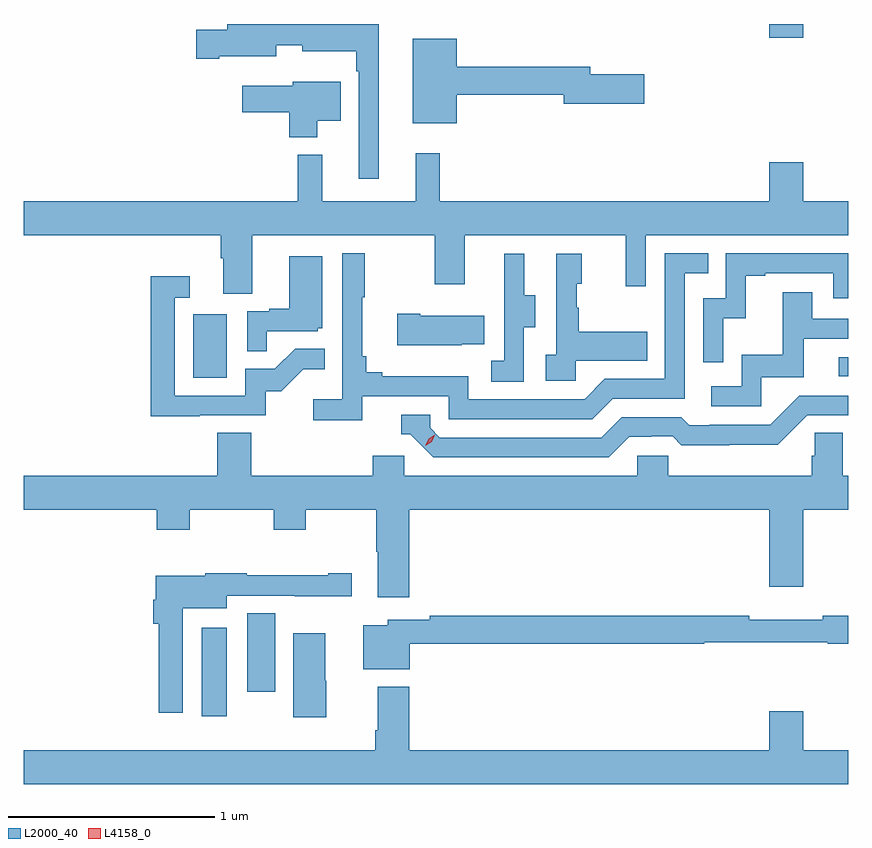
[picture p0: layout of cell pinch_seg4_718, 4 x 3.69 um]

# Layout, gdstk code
import gdstk
lib = gdstk.Library(unit=1e-6, precision=1e-09)
def R(c, l, rs):  # rectangles x0, y0, x1, y1
    for r in rs: c.add(gdstk.rectangle(r[:2], r[2:], *l))
def P(c, l, *ps):  # polygons
    for p in ps: c.add(gdstk.Polygon(p, *l))
L2000_40 = (2000, 40)
L4158_0 = (4158, 0)

pinch_seg4_718 = lib.new_cell('pinch_seg4_718')
R(pinch_seg4_718, L2000_40, [(845.57,811.8,845.692,812.23), (845.792,811.92,845.926,812.3), (845.528,813.444,845.692,813.751), (848.661,813.45,848.707,813.543), (848.324,815.094,848.488,815.16)])
P(pinch_seg4_718, L2000_40, [(846.43,815.16),(845.693,815.16),(845.693,815.133),(845.544,815.133),(845.544,814.991),(845.656,814.991),(845.656,815.003),(845.932,815.003),(845.932,815.057),(846.059,815.057),(846.059,815.027),(846.321,815.027),(846.321,814.931),(846.333,814.931),(846.333,814.41),(846.43,814.41)],
  [(846.808,814.816),(847.328,814.816),(847.328,814.774),(847.717,814.774),(847.717,814.916),(847.456,814.916),(847.456,814.952),(846.808,814.952),(846.808,815.089),(846.593,815.089),(846.593,814.679),(846.808,814.679)],
  [(846.13,814.691),(846.244,814.691),(846.244,814.879),(846.012,814.879),(846.012,814.861),(845.766,814.861),(845.766,814.732),(845.996,814.732),(845.996,814.61),(846.13,814.61)],
  [(845.815,814.136),(846.7,814.136),(846.7,813.897),(846.847,813.897),(846.847,814.136),(847.628,814.136),(847.628,813.888),(847.725,813.888),(847.725,814.136),(848.707,814.136),(848.707,814.3),(848.488,814.3),(848.488,814.489),(848.324,814.489),(848.324,814.3),(846.725,814.3),(846.725,814.534),(846.608,814.534),(846.608,814.3),(846.155,814.3),(846.155,814.525),(846.037,814.525),(846.037,814.3),(844.707,814.3),(844.707,814.136),(845.663,814.136),(845.663,814.024),(845.675,814.024),(845.675,813.85),(845.815,813.85)],
  [(846.35,813.354),(846.768,813.354),(846.768,813.243),(847.465,813.243),(847.564,813.342),(847.914,813.342),(847.914,813.951),(848.027,813.951),(848.027,814.047),(847.818,814.047),(847.818,813.438),(847.527,813.438),(847.428,813.339),(846.864,813.339),(846.864,813.451),(846.445,813.451),(846.445,813.47),(846.368,813.47),(846.368,813.547),(846.349,813.547),(846.349,813.835),(846.361,813.835),(846.361,814.048),(846.252,814.048),(846.252,813.34),(846.111,813.34),(846.111,813.238),(846.35,813.238)],
  [(848.1,813.731),(848.21,813.731),(848.21,813.939),(848.305,813.939),(848.305,813.951),(848.634,813.951),(848.634,813.828),(848.707,813.828),(848.707,814.047),(848.112,814.047),(848.112,813.828),(848.004,813.828),(848.004,813.519),(848.1,813.519)],
  [(847.386,813.527),(847.733,813.527),(847.733,813.667),(847.399,813.667),(847.399,813.782),(847.389,813.782),(847.389,813.9),(847.414,813.9),(847.414,814.045),(847.29,814.045),(847.29,813.554),(847.239,813.554),(847.239,813.429),(847.386,813.429)],
  [(847.134,813.688),(847.189,813.688),(847.189,813.843),(847.135,813.843),(847.135,814.045),(847.037,814.045),(847.037,813.831),(847.038,813.831),(847.038,813.527),(846.975,813.527),(846.975,813.424),(847.134,813.424)],
  [(845.885,813.669),(846.132,813.669),(846.132,813.684),(846.154,813.684),(846.154,814.033),(845.996,814.033),(845.996,813.778),(845.897,813.778),(845.897,813.765),(845.79,813.765),(845.79,813.571),(845.885,813.571)],
  [(845.561,813.261),(845.88,813.261),(845.88,813.378),(845.956,813.378),(846.063,813.485),(846.167,813.485),(846.167,813.584),(846.023,813.584),(845.925,813.486),(845.781,813.486),(845.781,813.357),(845.439,813.357),(845.439,813.831),(845.512,813.831),(845.512,813.937),(845.323,813.937),(845.323,813.256),(845.561,813.256)],
  [(848.286,813.447),(848.491,813.447),(848.491,813.633),(848.707,813.633),(848.707,813.729),(848.533,813.729),(848.533,813.859),(848.389,813.859),(848.389,813.556),(848.19,813.556),(848.19,813.402),(848.043,813.402),(848.043,813.306),(848.286,813.306)],
  [(846.833,813.605),(846.941,813.605),(846.941,813.745),(846.631,813.745),(846.631,813.753),(846.519,813.753),(846.519,813.602),(846.833,813.602)],
  [(847.645,813.156),(847.752,813.156),(847.752,813.159),(847.855,813.159),(847.897,813.117),(848.13,813.117),(848.13,813.119),(848.366,813.119),(848.508,813.261),(848.707,813.261),(848.707,813.357),(848.469,813.357),(848.328,813.216),(848.035,813.216),(848.035,813.213),(847.936,813.213),(847.897,813.252),(847.608,813.252),(847.509,813.153),(846.726,813.153),(846.678,813.201),(846.678,813.264),(846.539,813.264),(846.539,813.168),(846.582,813.168),(846.693,813.057),(847.546,813.057)],
  [(846.578,812.804),(848.324,812.804),(848.324,812.43),(848.488,812.43),(848.488,812.804),(848.707,812.804),(848.707,812.968),(848.682,812.968),(848.682,813.176),(848.545,813.176),(848.545,813.066),(848.531,813.066),(848.531,812.968),(847.833,812.968),(847.833,813.066),(847.683,813.066),(847.683,812.968),(846.552,812.968),(846.552,813.066),(846.401,813.066),(846.401,812.968),(845.81,812.968),(845.81,813.176),(845.645,813.176),(845.645,812.968),(844.707,812.968),(844.707,812.804),(845.351,812.804),(845.351,812.705),(845.511,812.705),(845.511,812.804),(845.92,812.804),(845.92,812.705),(846.075,812.705),(846.075,812.804),(846.418,812.804),(846.418,812.6),(846.425,812.6),(846.425,812.379),(846.578,812.379)],
  [(845.478,812.324),(845.692,812.324),(845.692,812.385),(846.022,812.385),(846.022,812.384),(846.298,812.384),(846.298,812.494),(846.185,812.494),(846.185,812.484),(845.788,812.484),(845.788,812.494),(845.588,812.494),(845.588,812.482),(845.348,812.482),(845.348,812.366),(845.336,812.366),(845.336,812.249),(845.362,812.249),(845.362,811.818),(845.478,811.818)],
  [(846.58,812.152),(848.008,812.152),(848.008,812.16),(848.608,812.16),(848.608,812.152),(848.707,812.152),(848.707,812.288),(848.584,812.288),(848.584,812.269),(848.228,812.269),(848.228,812.288),(846.676,812.288),(846.676,812.268),(846.474,812.268),(846.474,812.242),(846.353,812.242),(846.353,812.03),(846.58,812.03)],
  [(846.175,811.974),(846.169,811.974),(846.169,812.203),(846.014,812.203),(846.014,811.797),(846.175,811.797)],
  [(848.707,811.636),(848.488,811.636),(848.488,811.825),(848.324,811.825),(848.324,811.636),(846.578,811.636),(846.578,811.945),(846.425,811.945),(846.425,811.732),(846.413,811.732),(846.413,811.636),(844.707,811.636),(844.707,811.472),(848.707,811.472)])
P(pinch_seg4_718, L4158_0, [(846.656,813.114),(846.656,813.114),(846.672,813.147),(846.702,813.166),(846.702,813.166),(846.702,813.166),(846.687,813.134),(846.656,813.114)])

lib.write_gds('pinch_seg4_718.gds')
